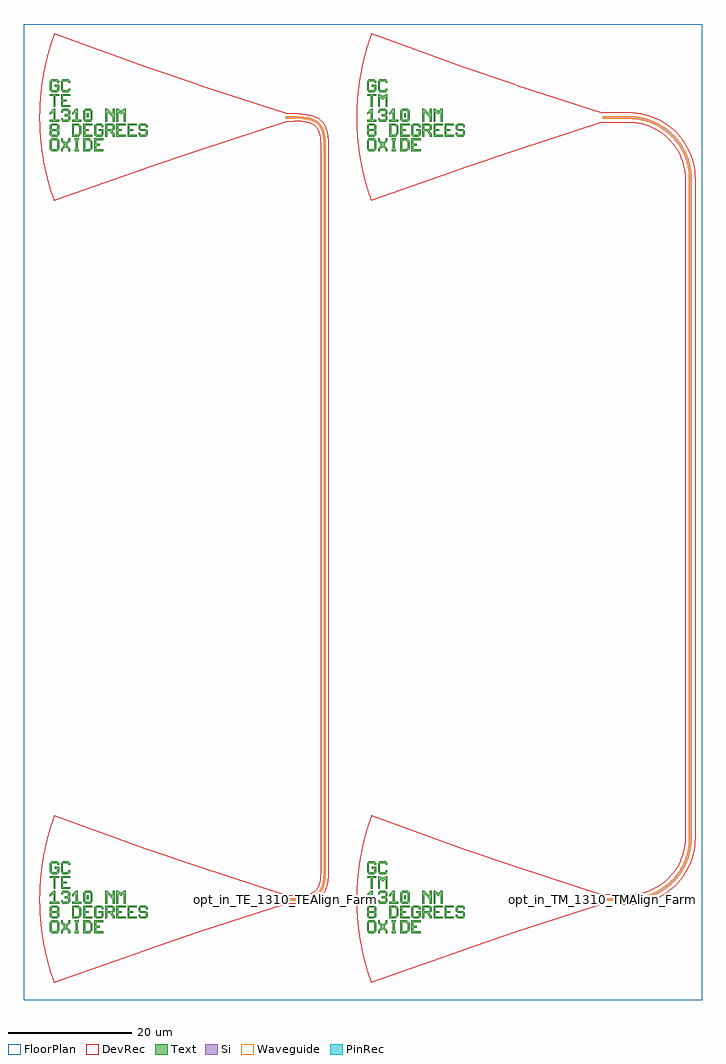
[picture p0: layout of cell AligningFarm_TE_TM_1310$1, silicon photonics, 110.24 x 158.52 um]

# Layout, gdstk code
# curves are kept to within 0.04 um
import gdstk
lib = gdstk.Library(unit=1e-6, precision=1e-09)
def R(c, l, rs):  # rectangles x0, y0, x1, y1
    for r in rs: c.add(gdstk.rectangle(r[:2], r[2:], *l))
def P(c, l, *ps):  # polygons
    for p in ps: c.add(gdstk.Polygon(p, *l))
Si = (1, 0)
PinRec = (1, 10)
Waveguide = (1, 99)
Text = (10, 0)
DevRec = (68, 0)
FloorPlan = (99, 0)

waveguide_880 = lib.new_cell('Waveguide$880')
P(waveguide_880, Si, [(8595.068,319.844),(8595.068,320.294),(8599.701,320.302),(8601.454,320.532),(8603.139,321.076),(8604.023,321.507),(8604.86,322.024),(8605.64,322.623),(8606.492,323.441),(8607.239,324.356),(8607.869,325.353),(8608.375,326.419),(8608.749,327.539),(8608.956,328.501),(8609.074,329.675),(8609.051,437.856),(8608.922,438.831),(8608.639,439.977),(8608.221,441.081),(8607.672,442.126),(8607.002,443.097),(8606.219,443.981),(8605.489,444.641),(8604.532,445.331),(8603.674,445.814),(8602.773,446.209),(8601.837,446.511),(8600.875,446.718),(8599.504,446.842),(8595.068,446.844),(8595.068,447.294),(8599.719,447.286),(8600.743,447.193),(8601.554,447.044),(8602.545,446.768),(8603.315,446.476),(8604.241,446.025),(8604.945,445.6),(8605.613,445.118),(8606.39,444.443),(8606.961,443.849),(8607.603,443.046),(8608.058,442.358),(8608.545,441.453),(8608.939,440.501),(8609.183,439.715),(8609.4,438.709),(8609.499,437.892),(8609.524,329.657),(8609.4,328.429),(8609.128,327.224),(8608.793,326.251),(8608.263,325.135),(8607.603,324.092),(8606.822,323.135),(8606.087,322.415),(8605.116,321.654),(8604.241,321.113),(8603.125,320.583),(8602.152,320.248),(8601.151,320.012),(8599.512,319.846)])
P(waveguide_880, Waveguide, [(8595.068,319.844),(8595.068,320.294),(8599.701,320.302),(8601.454,320.532),(8603.139,321.076),(8604.023,321.507),(8604.86,322.024),(8605.64,322.623),(8606.492,323.441),(8607.239,324.356),(8607.869,325.353),(8608.375,326.419),(8608.749,327.539),(8608.956,328.501),(8609.074,329.675),(8609.051,437.856),(8608.922,438.831),(8608.639,439.977),(8608.221,441.081),(8607.672,442.126),(8607.002,443.097),(8606.219,443.981),(8605.489,444.641),(8604.532,445.331),(8603.674,445.814),(8602.773,446.209),(8601.837,446.511),(8600.875,446.718),(8599.504,446.842),(8595.068,446.844),(8595.068,447.294),(8599.719,447.286),(8600.743,447.193),(8601.554,447.044),(8602.545,446.768),(8603.315,446.476),(8604.241,446.025),(8604.945,445.6),(8605.613,445.118),(8606.39,444.443),(8606.961,443.849),(8607.603,443.046),(8608.058,442.358),(8608.545,441.453),(8608.939,440.501),(8609.183,439.715),(8609.4,438.709),(8609.499,437.892),(8609.524,329.657),(8609.4,328.429),(8609.128,327.224),(8608.793,326.251),(8608.263,325.135),(8607.603,324.092),(8606.822,323.135),(8606.087,322.415),(8605.116,321.654),(8604.241,321.113),(8603.125,320.583),(8602.152,320.248),(8601.151,320.012),(8599.512,319.846)])
P(waveguide_880, DevRec, [(8595.068,319.219),(8595.068,320.919),(8599.304,320.919),(8600.957,321.069),(8602.029,321.334),(8603.062,321.725),(8604.04,322.238),(8604.949,322.866),(8606.156,324.002),(8606.837,324.871),(8607.409,325.817),(8607.862,326.824),(8608.191,327.88),(8608.441,329.516),(8608.441,437.622),(8608.307,438.719),(8608.042,439.791),(8607.651,440.824),(8607.138,441.802),(8606.51,442.711),(8605.777,443.539),(8604.949,444.272),(8604.04,444.9),(8602.552,445.624),(8601.496,445.953),(8600.409,446.152),(8599.304,446.219),(8595.068,446.219),(8595.068,447.919),(8599.962,447.899),(8600.615,447.84),(8601.904,447.603),(8602.535,447.428),(8603.76,446.963),(8605.471,445.999),(8606.979,444.741),(8608.237,443.233),(8609.201,441.522),(8609.666,440.297),(8609.841,439.666),(8610.078,438.377),(8610.137,437.724),(8610.137,329.414),(8609.979,328.113),(8609.666,326.841),(8608.915,325.027),(8608.237,323.905),(8607.428,322.874),(8606.502,321.948),(8605.471,321.139),(8604.349,320.461),(8603.154,319.924),(8601.263,319.397),(8599.31,319.219)])
waveguide_880.add(gdstk.FlexPath([(8595.078,320.069),(8595.058,320.069)], 0.45, ends="flush", simple_path=True, layer=1, datatype=10))  # PinRec
waveguide_880.add(gdstk.FlexPath([(8595.078,447.069),(8595.058,447.069)], 0.45, ends="flush", simple_path=True, layer=1, datatype=10))  # PinRec
waveguide_880.add(gdstk.Label('opt2', (8595.068,447.069), layer=1, texttype=10))
waveguide_880.add(gdstk.Label('opt1', (8595.068,320.069), layer=1, texttype=10))
waveguide_880.add(gdstk.Label('waveguide_type=Strip TE-TM 1550, w=450 nm', (8595.068,319.889), layer=68, texttype=0))
waveguide_880.add(gdstk.Label('Length=146.888 (microns)', (8595.068,319.529), layer=68, texttype=0))
waveguide_880.add(gdstk.Label('cellName=Waveguide', (8595.068,320.249), layer=68, texttype=0))
waveguide_880.add(gdstk.Label('Spice_param:wg_length=0.000146888 wg_width=4.5e-07 points="[[8595.068,320.069],[8609.307,320.069],[8609.307,447.069],[8595.068,447.069]]" radius=1e-05', (8595.068,320.069), layer=68, texttype=0))
waveguide_880.add(gdstk.Label('Component=ebeam_wg_integral_1550', (8595.068,320.159), layer=68, texttype=0))
waveguide_880.add(gdstk.Label('Lumerical_INTERCONNECT_library=Design kits/EBeam', (8595.068,319.979), layer=68, texttype=0))

gc_tm_1310_8degoxide_bb_ = lib.new_cell('GC_TM_1310_8degOxide_BB$1')
R(gc_tm_1310_8degoxide_bb_, Text, [(-32.27,0.06,-31.97,0.66)])
P(gc_tm_1310_8degoxide_bb_, Text, [(-23.57,-3.09),(-23.87,-2.79),(-23.87,-2.49),(-23.57,-2.49),(-23.57,-2.64),(-23.42,-2.79),(-22.82,-2.79),(-22.67,-2.64),(-22.67,-2.34),(-22.82,-2.19),(-23.57,-2.19),(-23.87,-1.89),(-23.87,-1.29),(-23.57,-0.99),(-22.67,-0.99),(-22.37,-1.29),(-22.37,-1.59),(-22.67,-1.59),(-22.67,-1.44),(-22.82,-1.29),(-23.42,-1.29),(-23.57,-1.44),(-23.57,-1.74),(-23.42,-1.89),(-22.67,-1.89),(-22.37,-2.19),(-22.37,-2.79),(-22.67,-3.09)],
  [(-36.17,-0.69),(-36.47,-0.39),(-36.47,-0.09),(-36.17,-0.09),(-36.17,-0.24),(-36.02,-0.39),(-35.42,-0.39),(-35.27,-0.24),(-35.27,0.06),(-35.42,0.21),(-35.87,0.21),(-35.87,0.51),(-35.42,0.51),(-35.27,0.66),(-35.27,0.96),(-35.42,1.11),(-36.02,1.11),(-36.17,0.96),(-36.17,0.81),(-36.47,0.81),(-36.47,1.11),(-36.17,1.41),(-35.27,1.41),(-34.97,1.11),(-34.97,0.51),(-35.12,0.36),(-34.97,0.21),(-34.97,-0.39),(-35.27,-0.69)],
  [(-37.67,1.71),(-37.67,3.51),(-38.27,3.51),(-38.27,3.81),(-36.77,3.81),(-36.77,3.51),(-37.37,3.51),(-37.37,1.71)],
  [(-32.87,-5.49),(-32.87,-3.39),(-31.82,-3.39),(-31.52,-3.69),(-32.57,-3.69),(-32.57,-5.19),(-31.97,-5.19),(-31.67,-4.89),(-31.67,-3.99),(-31.97,-3.69),(-31.52,-3.69),(-31.37,-3.84),(-31.37,-5.04),(-31.82,-5.49)],
  [(-34.67,-3.09),(-34.67,-0.99),(-33.62,-0.99),(-33.32,-1.29),(-34.37,-1.29),(-34.37,-2.79),(-33.77,-2.79),(-33.47,-2.49),(-33.47,-1.59),(-33.77,-1.29),(-33.32,-1.29),(-33.17,-1.44),(-33.17,-2.64),(-33.62,-3.09)],
  [(-36.47,-5.49),(-36.47,-5.04),(-36.02,-4.59),(-36.02,-4.29),(-36.47,-3.84),(-36.47,-3.39),(-36.17,-3.39),(-36.17,-3.69),(-35.72,-4.14),(-35.27,-3.69),(-35.27,-3.39),(-34.97,-3.39),(-34.97,-3.84),(-35.42,-4.29),(-35.42,-4.59),(-34.97,-5.04),(-34.97,-5.49),(-35.27,-5.49),(-35.27,-5.19),(-35.72,-4.74),(-36.17,-5.19),(-36.17,-5.49)],
  [(-37.97,-3.09),(-38.27,-2.79),(-38.27,-2.19),(-38.12,-2.04),(-38.27,-1.89),(-38.27,-1.29),(-37.97,-0.99),(-37.07,-0.99),(-36.77,-1.29),(-37.82,-1.29),(-37.97,-1.44),(-37.97,-1.74),(-37.82,-1.89),(-37.22,-1.89),(-37.07,-1.74),(-37.07,-1.44),(-37.22,-1.29),(-36.77,-1.29),(-36.77,-1.89),(-36.92,-2.04),(-36.77,-2.19),(-37.82,-2.19),(-37.97,-2.34),(-37.97,-2.64),(-37.82,-2.79),(-37.22,-2.79),(-37.07,-2.64),(-37.07,-2.34),(-37.22,-2.19),(-36.77,-2.19),(-36.77,-2.79),(-37.07,-3.09)],
  [(-32.57,-0.69),(-32.87,-0.39),(-32.87,1.11),(-32.57,1.41),(-31.67,1.41),(-31.37,1.11),(-32.42,1.11),(-32.57,0.96),(-32.57,-0.24),(-32.42,-0.39),(-31.82,-0.39),(-31.67,-0.24),(-31.67,0.96),(-31.82,1.11),(-31.37,1.11),(-31.37,-0.39),(-31.67,-0.69)],
  [(-29.27,-3.09),(-29.27,-0.99),(-28.07,-0.99),(-27.77,-1.29),(-28.97,-1.29),(-28.97,-1.89),(-28.22,-1.89),(-28.07,-1.74),(-28.07,-1.44),(-28.22,-1.29),(-27.77,-1.29),(-27.77,-1.89),(-28.07,-2.19),(-28.07,-2.34),(-27.77,-2.64),(-27.77,-3.09),(-28.07,-3.09),(-28.07,-2.79),(-28.67,-2.19),(-28.97,-2.19),(-28.97,-3.09)],
  [(-36.17,4.11),(-36.47,4.41),(-36.47,5.91),(-36.17,6.21),(-35.27,6.21),(-34.97,5.91),(-34.97,5.61),(-35.27,5.61),(-35.27,5.76),(-35.42,5.91),(-36.02,5.91),(-36.17,5.76),(-36.17,4.56),(-36.02,4.41),(-35.42,4.41),(-35.27,4.56),(-35.27,4.71),(-34.97,4.71),(-34.97,4.41),(-35.27,4.11)],
  [(-38.27,-0.69),(-38.27,-0.39),(-37.67,-0.39),(-37.67,0.81),(-37.82,0.81),(-38.12,0.51),(-38.27,0.51),(-38.27,0.81),(-37.67,1.41),(-37.37,1.41),(-37.37,-0.39),(-36.77,-0.39),(-36.77,-0.69)],
  [(-34.67,-0.69),(-34.67,-0.39),(-34.07,-0.39),(-34.07,0.81),(-34.22,0.81),(-34.52,0.51),(-34.67,0.51),(-34.67,0.81),(-34.07,1.41),(-33.77,1.41),(-33.77,-0.39),(-33.17,-0.39),(-33.17,-0.69)],
  [(-30.77,-3.09),(-31.07,-2.79),(-31.07,-1.29),(-30.77,-0.99),(-29.87,-0.99),(-29.57,-1.29),(-29.57,-1.59),(-29.87,-1.59),(-29.87,-1.44),(-30.02,-1.29),(-30.62,-1.29),(-30.77,-1.44),(-30.77,-2.64),(-30.62,-2.79),(-30.02,-2.79),(-29.87,-2.64),(-29.87,-2.19),(-30.32,-2.19),(-30.32,-1.89),(-29.57,-1.89),(-29.57,-2.79),(-29.87,-3.09)],
  [(-37.97,4.11),(-38.27,4.41),(-38.27,5.91),(-37.97,6.21),(-37.07,6.21),(-36.77,5.91),(-36.77,5.61),(-37.07,5.61),(-37.07,5.76),(-37.22,5.91),(-37.82,5.91),(-37.97,5.76),(-37.97,4.56),(-37.82,4.41),(-37.22,4.41),(-37.07,4.56),(-37.07,5.01),(-37.52,5.01),(-37.52,5.31),(-36.77,5.31),(-36.77,4.41),(-37.07,4.11)],
  [(-37.97,-5.49),(-38.27,-5.19),(-38.27,-3.69),(-37.97,-3.39),(-37.07,-3.39),(-36.77,-3.69),(-36.77,-4.44),(-37.07,-4.44),(-37.07,-3.84),(-37.22,-3.69),(-37.82,-3.69),(-37.97,-3.84),(-37.97,-5.04),(-37.82,-5.19),(-37.22,-5.19),(-37.07,-5.04),(-37.07,-4.44),(-36.77,-4.44),(-36.77,-5.19),(-37.07,-5.49)],
  [(-31.07,-5.49),(-31.07,-3.39),(-29.57,-3.39),(-29.57,-3.69),(-30.77,-3.69),(-30.77,-4.29),(-30.17,-4.29),(-30.17,-4.59),(-30.77,-4.59),(-30.77,-5.19),(-29.57,-5.19),(-29.57,-5.49)],
  [(-32.87,-3.09),(-32.87,-0.99),(-31.37,-0.99),(-31.37,-1.29),(-32.57,-1.29),(-32.57,-1.89),(-31.97,-1.89),(-31.97,-2.19),(-32.57,-2.19),(-32.57,-2.79),(-31.37,-2.79),(-31.37,-3.09)],
  [(-27.47,-3.09),(-27.47,-0.99),(-25.97,-0.99),(-25.97,-1.29),(-27.17,-1.29),(-27.17,-1.89),(-26.57,-1.89),(-26.57,-2.19),(-27.17,-2.19),(-27.17,-2.79),(-25.97,-2.79),(-25.97,-3.09)],
  [(-25.67,-3.09),(-25.67,-0.99),(-24.17,-0.99),(-24.17,-1.29),(-25.37,-1.29),(-25.37,-1.89),(-24.77,-1.89),(-24.77,-2.19),(-25.37,-2.19),(-25.37,-2.79),(-24.17,-2.79),(-24.17,-3.09)],
  [(-27.47,-0.69),(-27.47,1.41),(-27.17,1.41),(-26.87,1.11),(-26.57,1.11),(-26.27,1.41),(-25.97,1.41),(-25.97,-0.69),(-26.27,-0.69),(-26.27,0.81),(-26.42,0.81),(-26.72,0.51),(-27.02,0.81),(-27.17,0.81),(-27.17,-0.69)],
  [(-36.47,1.71),(-36.47,3.81),(-36.17,3.81),(-35.87,3.51),(-35.57,3.51),(-35.27,3.81),(-34.97,3.81),(-34.97,1.71),(-35.27,1.71),(-35.27,3.21),(-35.42,3.21),(-35.72,2.91),(-36.02,3.21),(-36.17,3.21),(-36.17,1.71)],
  [(-29.27,-0.69),(-29.27,1.41),(-28.97,1.41),(-28.22,0.66),(-28.07,0.66),(-28.07,1.41),(-27.77,1.41),(-27.77,-0.69),(-28.07,-0.69),(-28.07,0.06),(-28.82,0.81),(-28.97,0.81),(-28.97,-0.69)],
  [(-34.22,-5.49),(-34.22,-5.19),(-34.07,-5.19),(-34.07,-3.69),(-34.22,-3.69),(-34.22,-3.39),(-33.62,-3.39),(-33.62,-3.69),(-33.77,-3.69),(-33.77,-5.19),(-33.62,-5.19),(-33.62,-5.49)])
P(gc_tm_1310_8degoxide_bb_, DevRec, [(-37.607,-13.5),(-38.627,-10.245),(-39.378,-6.832),(-39.647,-5.058),(-39.835,-3.274),(-39.969,0.224),(-39.812,3.541),(-39.331,7.097),(-38.557,10.505),(-37.546,13.669),(-22.8,8.353),(-14.109,5.36),(0,0.75),(0,-0.75),(-14.109,-5.36)])
gc_tm_1310_8degoxide_bb_.add(gdstk.FlexPath([(-0.01,0),(0.01,0)], 0.35, ends="flush", simple_path=True, layer=1, datatype=10))  # PinRec
gc_tm_1310_8degoxide_bb_.add(gdstk.Label('opt1', (0,0), layer=1, texttype=10))

waveguide_881 = lib.new_cell('Waveguide$881')
P(waveguide_881, Si, [(8595.068,319.894),(8595.068,320.244),(8597.068,320.253),(8598.335,320.357),(8599.444,320.638),(8600.149,321.045),(8600.651,321.629),(8600.992,322.435),(8601.188,323.501),(8601.258,324.851),(8601.251,442.702),(8601.169,443.806),(8600.993,444.702),(8600.711,445.408),(8600.311,445.945),(8599.97,446.225),(8599.56,446.45),(8598.493,446.755),(8597.268,446.876),(8595.068,446.894),(8595.068,447.244),(8596.657,447.242),(8598.041,447.17),(8599.02,447.002),(8599.825,446.712),(8600.468,446.28),(8600.952,445.69),(8601.287,444.939),(8601.493,444.021),(8601.593,442.917),(8601.608,324.847),(8601.516,323.287),(8601.286,322.198),(8600.881,321.338),(8600.646,321.036),(8600.27,320.696),(8599.442,320.263),(8598.387,320.011),(8597.08,319.903)])
P(waveguide_881, Waveguide, [(8595.068,319.894),(8595.068,320.244),(8597.068,320.253),(8598.335,320.357),(8599.444,320.638),(8600.149,321.045),(8600.651,321.629),(8600.992,322.435),(8601.188,323.501),(8601.258,324.851),(8601.251,442.702),(8601.169,443.806),(8600.993,444.702),(8600.711,445.408),(8600.311,445.945),(8599.97,446.225),(8599.56,446.45),(8598.493,446.755),(8597.268,446.876),(8595.068,446.894),(8595.068,447.244),(8596.657,447.242),(8598.041,447.17),(8599.02,447.002),(8599.825,446.712),(8600.468,446.28),(8600.952,445.69),(8601.287,444.939),(8601.493,444.021),(8601.593,442.917),(8601.608,324.847),(8601.516,323.287),(8601.286,322.198),(8600.881,321.338),(8600.646,321.036),(8600.27,320.696),(8599.442,320.263),(8598.387,320.011),(8597.08,319.903)])
P(waveguide_881, DevRec, [(8595.068,319.394),(8595.068,320.744),(8597.087,320.754),(8598.19,320.842),(8599.033,321.023),(8599.361,321.146),(8599.859,321.454),(8600.049,321.644),(8600.357,322.142),(8600.582,322.86),(8600.717,323.832),(8600.76,325.069),(8600.75,442.721),(8600.662,443.824),(8600.481,444.667),(8600.214,445.266),(8600.05,445.493),(8599.633,445.847),(8599.034,446.114),(8598.191,446.295),(8597.087,446.383),(8595.068,446.394),(8595.068,447.744),(8596.447,447.744),(8597.78,447.697),(8598.93,447.536),(8599.914,447.223),(8600.736,446.709),(8601.36,445.98),(8601.769,445.073),(8602,444.01),(8602.1,442.767),(8602.11,325.057),(8601.999,323.127),(8601.768,322.064),(8601.359,321.157),(8600.735,320.428),(8599.913,319.914),(8598.929,319.601),(8597.133,319.404)])
waveguide_881.add(gdstk.FlexPath([(8595.078,320.069),(8595.058,320.069)], 0.35, ends="flush", simple_path=True, layer=1, datatype=10))  # PinRec
waveguide_881.add(gdstk.FlexPath([(8595.078,447.069),(8595.058,447.069)], 0.35, ends="flush", simple_path=True, layer=1, datatype=10))  # PinRec
waveguide_881.add(gdstk.Label('opt2', (8595.068,447.069), layer=1, texttype=10))
waveguide_881.add(gdstk.Label('opt1', (8595.068,320.069), layer=1, texttype=10))
waveguide_881.add(gdstk.Label('waveguide_type=Strip TE 1310 nm, w=350 nm', (8595.068,319.929), layer=68, texttype=0))
waveguide_881.add(gdstk.Label('Length=136.641 (microns)', (8595.068,319.649), layer=68, texttype=0))
waveguide_881.add(gdstk.Label('Spice_param:wg_length=0.000136641 wg_width=3.5e-07 points="[[8595.068,320.069],[8601.435,320.069],[8601.435,447.069],[8595.068,447.069]]" radius=5e-06', (8595.068,320.069), layer=68, texttype=0))
waveguide_881.add(gdstk.Label('cellName=Waveguide', (8595.068,320.209), layer=68, texttype=0))
waveguide_881.add(gdstk.Label('Component=ebeam_wg_integral_1310', (8595.068,320.139), layer=68, texttype=0))
waveguide_881.add(gdstk.Label('Lumerical_INTERCONNECT_library=Design kits/EBeam', (8595.068,319.999), layer=68, texttype=0))

gc_te_1310_8degoxide_bb_ = lib.new_cell('GC_TE_1310_8degOxide_BB$3')
R(gc_te_1310_8degoxide_bb_, Text, [(-32.27,0.06,-31.97,0.66)])
P(gc_te_1310_8degoxide_bb_, Text, [(-27.47,-0.69),(-27.47,1.41),(-27.17,1.41),(-26.87,1.11),(-26.57,1.11),(-26.27,1.41),(-25.97,1.41),(-25.97,-0.69),(-26.27,-0.69),(-26.27,0.81),(-26.42,0.81),(-26.72,0.51),(-27.02,0.81),(-27.17,0.81),(-27.17,-0.69)],
  [(-36.17,4.11),(-36.47,4.41),(-36.47,5.91),(-36.17,6.21),(-35.27,6.21),(-34.97,5.91),(-34.97,5.61),(-35.27,5.61),(-35.27,5.76),(-35.42,5.91),(-36.02,5.91),(-36.17,5.76),(-36.17,4.56),(-36.02,4.41),(-35.42,4.41),(-35.27,4.56),(-35.27,4.71),(-34.97,4.71),(-34.97,4.41),(-35.27,4.11)],
  [(-37.97,-3.09),(-38.27,-2.79),(-38.27,-2.19),(-38.12,-2.04),(-38.27,-1.89),(-38.27,-1.29),(-37.97,-0.99),(-37.07,-0.99),(-36.77,-1.29),(-37.82,-1.29),(-37.97,-1.44),(-37.97,-1.74),(-37.82,-1.89),(-37.22,-1.89),(-37.07,-1.74),(-37.07,-1.44),(-37.22,-1.29),(-36.77,-1.29),(-36.77,-1.89),(-36.92,-2.04),(-36.77,-2.19),(-37.82,-2.19),(-37.97,-2.34),(-37.97,-2.64),(-37.82,-2.79),(-37.22,-2.79),(-37.07,-2.64),(-37.07,-2.34),(-37.22,-2.19),(-36.77,-2.19),(-36.77,-2.79),(-37.07,-3.09)],
  [(-29.27,-0.69),(-29.27,1.41),(-28.97,1.41),(-28.22,0.66),(-28.07,0.66),(-28.07,1.41),(-27.77,1.41),(-27.77,-0.69),(-28.07,-0.69),(-28.07,0.06),(-28.82,0.81),(-28.97,0.81),(-28.97,-0.69)],
  [(-34.22,-5.49),(-34.22,-5.19),(-34.07,-5.19),(-34.07,-3.69),(-34.22,-3.69),(-34.22,-3.39),(-33.62,-3.39),(-33.62,-3.69),(-33.77,-3.69),(-33.77,-5.19),(-33.62,-5.19),(-33.62,-5.49)],
  [(-31.07,-5.49),(-31.07,-3.39),(-29.57,-3.39),(-29.57,-3.69),(-30.77,-3.69),(-30.77,-4.29),(-30.17,-4.29),(-30.17,-4.59),(-30.77,-4.59),(-30.77,-5.19),(-29.57,-5.19),(-29.57,-5.49)],
  [(-32.87,-3.09),(-32.87,-0.99),(-31.37,-0.99),(-31.37,-1.29),(-32.57,-1.29),(-32.57,-1.89),(-31.97,-1.89),(-31.97,-2.19),(-32.57,-2.19),(-32.57,-2.79),(-31.37,-2.79),(-31.37,-3.09)],
  [(-27.47,-3.09),(-27.47,-0.99),(-25.97,-0.99),(-25.97,-1.29),(-27.17,-1.29),(-27.17,-1.89),(-26.57,-1.89),(-26.57,-2.19),(-27.17,-2.19),(-27.17,-2.79),(-25.97,-2.79),(-25.97,-3.09)],
  [(-25.67,-3.09),(-25.67,-0.99),(-24.17,-0.99),(-24.17,-1.29),(-25.37,-1.29),(-25.37,-1.89),(-24.77,-1.89),(-24.77,-2.19),(-25.37,-2.19),(-25.37,-2.79),(-24.17,-2.79),(-24.17,-3.09)],
  [(-36.47,1.71),(-36.47,3.81),(-34.97,3.81),(-34.97,3.51),(-36.17,3.51),(-36.17,2.91),(-35.57,2.91),(-35.57,2.61),(-36.17,2.61),(-36.17,2.01),(-34.97,2.01),(-34.97,1.71)],
  [(-37.97,-5.49),(-38.27,-5.19),(-38.27,-3.69),(-37.97,-3.39),(-37.07,-3.39),(-36.77,-3.69),(-36.77,-4.44),(-37.07,-4.44),(-37.07,-3.84),(-37.22,-3.69),(-37.82,-3.69),(-37.97,-3.84),(-37.97,-5.04),(-37.82,-5.19),(-37.22,-5.19),(-37.07,-5.04),(-37.07,-4.44),(-36.77,-4.44),(-36.77,-5.19),(-37.07,-5.49)],
  [(-30.77,-3.09),(-31.07,-2.79),(-31.07,-1.29),(-30.77,-0.99),(-29.87,-0.99),(-29.57,-1.29),(-29.57,-1.59),(-29.87,-1.59),(-29.87,-1.44),(-30.02,-1.29),(-30.62,-1.29),(-30.77,-1.44),(-30.77,-2.64),(-30.62,-2.79),(-30.02,-2.79),(-29.87,-2.64),(-29.87,-2.19),(-30.32,-2.19),(-30.32,-1.89),(-29.57,-1.89),(-29.57,-2.79),(-29.87,-3.09)],
  [(-37.97,4.11),(-38.27,4.41),(-38.27,5.91),(-37.97,6.21),(-37.07,6.21),(-36.77,5.91),(-36.77,5.61),(-37.07,5.61),(-37.07,5.76),(-37.22,5.91),(-37.82,5.91),(-37.97,5.76),(-37.97,4.56),(-37.82,4.41),(-37.22,4.41),(-37.07,4.56),(-37.07,5.01),(-37.52,5.01),(-37.52,5.31),(-36.77,5.31),(-36.77,4.41),(-37.07,4.11)],
  [(-38.27,-0.69),(-38.27,-0.39),(-37.67,-0.39),(-37.67,0.81),(-37.82,0.81),(-38.12,0.51),(-38.27,0.51),(-38.27,0.81),(-37.67,1.41),(-37.37,1.41),(-37.37,-0.39),(-36.77,-0.39),(-36.77,-0.69)],
  [(-34.67,-0.69),(-34.67,-0.39),(-34.07,-0.39),(-34.07,0.81),(-34.22,0.81),(-34.52,0.51),(-34.67,0.51),(-34.67,0.81),(-34.07,1.41),(-33.77,1.41),(-33.77,-0.39),(-33.17,-0.39),(-33.17,-0.69)],
  [(-23.57,-3.09),(-23.87,-2.79),(-23.87,-2.49),(-23.57,-2.49),(-23.57,-2.64),(-23.42,-2.79),(-22.82,-2.79),(-22.67,-2.64),(-22.67,-2.34),(-22.82,-2.19),(-23.57,-2.19),(-23.87,-1.89),(-23.87,-1.29),(-23.57,-0.99),(-22.67,-0.99),(-22.37,-1.29),(-22.37,-1.59),(-22.67,-1.59),(-22.67,-1.44),(-22.82,-1.29),(-23.42,-1.29),(-23.57,-1.44),(-23.57,-1.74),(-23.42,-1.89),(-22.67,-1.89),(-22.37,-2.19),(-22.37,-2.79),(-22.67,-3.09)],
  [(-32.87,-5.49),(-32.87,-3.39),(-31.82,-3.39),(-31.52,-3.69),(-32.57,-3.69),(-32.57,-5.19),(-31.97,-5.19),(-31.67,-4.89),(-31.67,-3.99),(-31.97,-3.69),(-31.52,-3.69),(-31.37,-3.84),(-31.37,-5.04),(-31.82,-5.49)],
  [(-34.67,-3.09),(-34.67,-0.99),(-33.62,-0.99),(-33.32,-1.29),(-34.37,-1.29),(-34.37,-2.79),(-33.77,-2.79),(-33.47,-2.49),(-33.47,-1.59),(-33.77,-1.29),(-33.32,-1.29),(-33.17,-1.44),(-33.17,-2.64),(-33.62,-3.09)],
  [(-36.17,-0.69),(-36.47,-0.39),(-36.47,-0.09),(-36.17,-0.09),(-36.17,-0.24),(-36.02,-0.39),(-35.42,-0.39),(-35.27,-0.24),(-35.27,0.06),(-35.42,0.21),(-35.87,0.21),(-35.87,0.51),(-35.42,0.51),(-35.27,0.66),(-35.27,0.96),(-35.42,1.11),(-36.02,1.11),(-36.17,0.96),(-36.17,0.81),(-36.47,0.81),(-36.47,1.11),(-36.17,1.41),(-35.27,1.41),(-34.97,1.11),(-34.97,0.51),(-35.12,0.36),(-34.97,0.21),(-34.97,-0.39),(-35.27,-0.69)],
  [(-37.67,1.71),(-37.67,3.51),(-38.27,3.51),(-38.27,3.81),(-36.77,3.81),(-36.77,3.51),(-37.37,3.51),(-37.37,1.71)],
  [(-29.27,-3.09),(-29.27,-0.99),(-28.07,-0.99),(-27.77,-1.29),(-28.97,-1.29),(-28.97,-1.89),(-28.22,-1.89),(-28.07,-1.74),(-28.07,-1.44),(-28.22,-1.29),(-27.77,-1.29),(-27.77,-1.89),(-28.07,-2.19),(-28.07,-2.34),(-27.77,-2.64),(-27.77,-3.09),(-28.07,-3.09),(-28.07,-2.79),(-28.67,-2.19),(-28.97,-2.19),(-28.97,-3.09)],
  [(-32.57,-0.69),(-32.87,-0.39),(-32.87,1.11),(-32.57,1.41),(-31.67,1.41),(-31.37,1.11),(-32.42,1.11),(-32.57,0.96),(-32.57,-0.24),(-32.42,-0.39),(-31.82,-0.39),(-31.67,-0.24),(-31.67,0.96),(-31.82,1.11),(-31.37,1.11),(-31.37,-0.39),(-31.67,-0.69)],
  [(-36.47,-5.49),(-36.47,-5.04),(-36.02,-4.59),(-36.02,-4.29),(-36.47,-3.84),(-36.47,-3.39),(-36.17,-3.39),(-36.17,-3.69),(-35.72,-4.14),(-35.27,-3.69),(-35.27,-3.39),(-34.97,-3.39),(-34.97,-3.84),(-35.42,-4.29),(-35.42,-4.59),(-34.97,-5.04),(-34.97,-5.49),(-35.27,-5.49),(-35.27,-5.19),(-35.72,-4.74),(-36.17,-5.19),(-36.17,-5.49)])
P(gc_te_1310_8degoxide_bb_, DevRec, [(-37.607,-13.5),(-38.627,-10.245),(-39.378,-6.832),(-39.647,-5.058),(-39.835,-3.274),(-39.969,0.224),(-39.812,3.541),(-39.331,7.097),(-38.557,10.505),(-37.546,13.669),(-22.8,8.353),(-14.109,5.36),(0,0.75),(0,-0.75),(-14.109,-5.36)])
gc_te_1310_8degoxide_bb_.add(gdstk.FlexPath([(-0.01,0),(0.01,0)], 0.35, ends="flush", simple_path=True, layer=1, datatype=10))  # PinRec
gc_te_1310_8degoxide_bb_.add(gdstk.Label('opt1', (0,0), layer=1, texttype=10))

aligningfarm_te_tm_1310_ = lib.new_cell('AligningFarm_TE_TM_1310$1')
R(aligningfarm_te_tm_1310_, FloorPlan, [(0,0,110.239,158.516)])
aligningfarm_te_tm_1310_.add(gdstk.Reference(waveguide_880, (-8501.019,-303.74)))
r = gdstk.Reference(gc_tm_1310_8degoxide_bb_, (94.049,16.329)); r.repetition = gdstk.Repetition(1, 2, v1=(0,0), v2=(0,127)); aligningfarm_te_tm_1310_.add(r)
aligningfarm_te_tm_1310_.add(gdstk.Reference(waveguide_881, (-8552.525,-303.74)))
r = gdstk.Reference(gc_te_1310_8degoxide_bb_, (42.543,16.329)); r.repetition = gdstk.Repetition(1, 2, v1=(0,0), v2=(0,127)); aligningfarm_te_tm_1310_.add(r)
aligningfarm_te_tm_1310_.add(gdstk.Label('opt_in_TM_1310_TMAlign_Farm', (94.049,16.329), layer=10, texttype=0))
aligningfarm_te_tm_1310_.add(gdstk.Label('opt_in_TE_1310_TEAlign_Farm', (42.543,16.329), layer=10, texttype=0))

lib.write_gds('AligningFarm_TE_TM_1310_1.gds')
